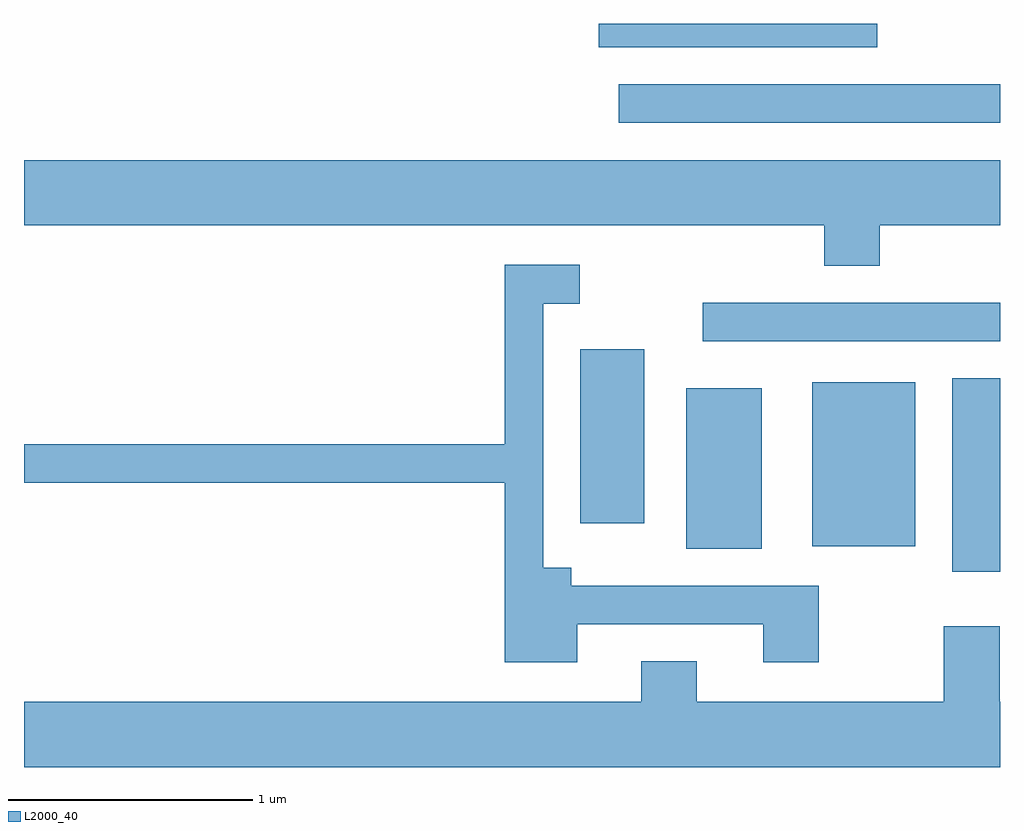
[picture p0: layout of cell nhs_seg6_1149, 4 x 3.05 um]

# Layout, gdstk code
import gdstk
lib = gdstk.Library(unit=1e-6, precision=1e-09)
def R(c, l, rs):  # rectangles x0, y0, x1, y1
    for r in rs: c.add(gdstk.rectangle(r[:2], r[2:], *l))
def P(c, l, *ps):  # polygons
    for p in ps: c.add(gdstk.Polygon(p, *l))
L2000_40 = (2000, 40)

nhs_seg6_1149 = lib.new_cell('nhs_seg6_1149')
R(nhs_seg6_1149, L2000_40, [(223.416,1581.916,223.611,1582.709), (222.326,1582.011,222.634,1582.669), (222.841,1582.021,223.264,1582.694), (221.891,1582.116,222.154,1582.829), (222.393,1582.861,223.611,1583.019), (222.048,1583.756,223.611,1583.914), (221.966,1584.066,223.108,1584.162)])
P(nhs_seg6_1149, L2000_40, [(223.119,1583.336),(223.611,1583.336),(223.611,1583.604),(219.611,1583.604),(219.611,1583.336),(222.891,1583.336),(222.891,1583.171),(223.119,1583.171)],
  [(221.879,1581.701),(222.641,1581.701),(222.641,1581.546),(222.869,1581.546),(222.869,1581.859),(221.854,1581.859),(221.854,1581.934),(221.739,1581.934),(221.739,1583.016),(221.888,1583.016),(221.888,1583.174),(221.581,1583.174),(221.581,1582.439),(219.611,1582.439),(219.611,1582.281),(221.581,1582.281),(221.581,1581.546),(221.879,1581.546)],
  [(223.611,1581.384),(223.609,1581.384),(223.609,1581.694),(223.381,1581.694),(223.381,1581.384),(222.369,1581.384),(222.369,1581.549),(222.141,1581.549),(222.141,1581.384),(219.611,1581.384),(219.611,1581.116),(223.611,1581.116)])

lib.write_gds('nhs_seg6_1149.gds')
